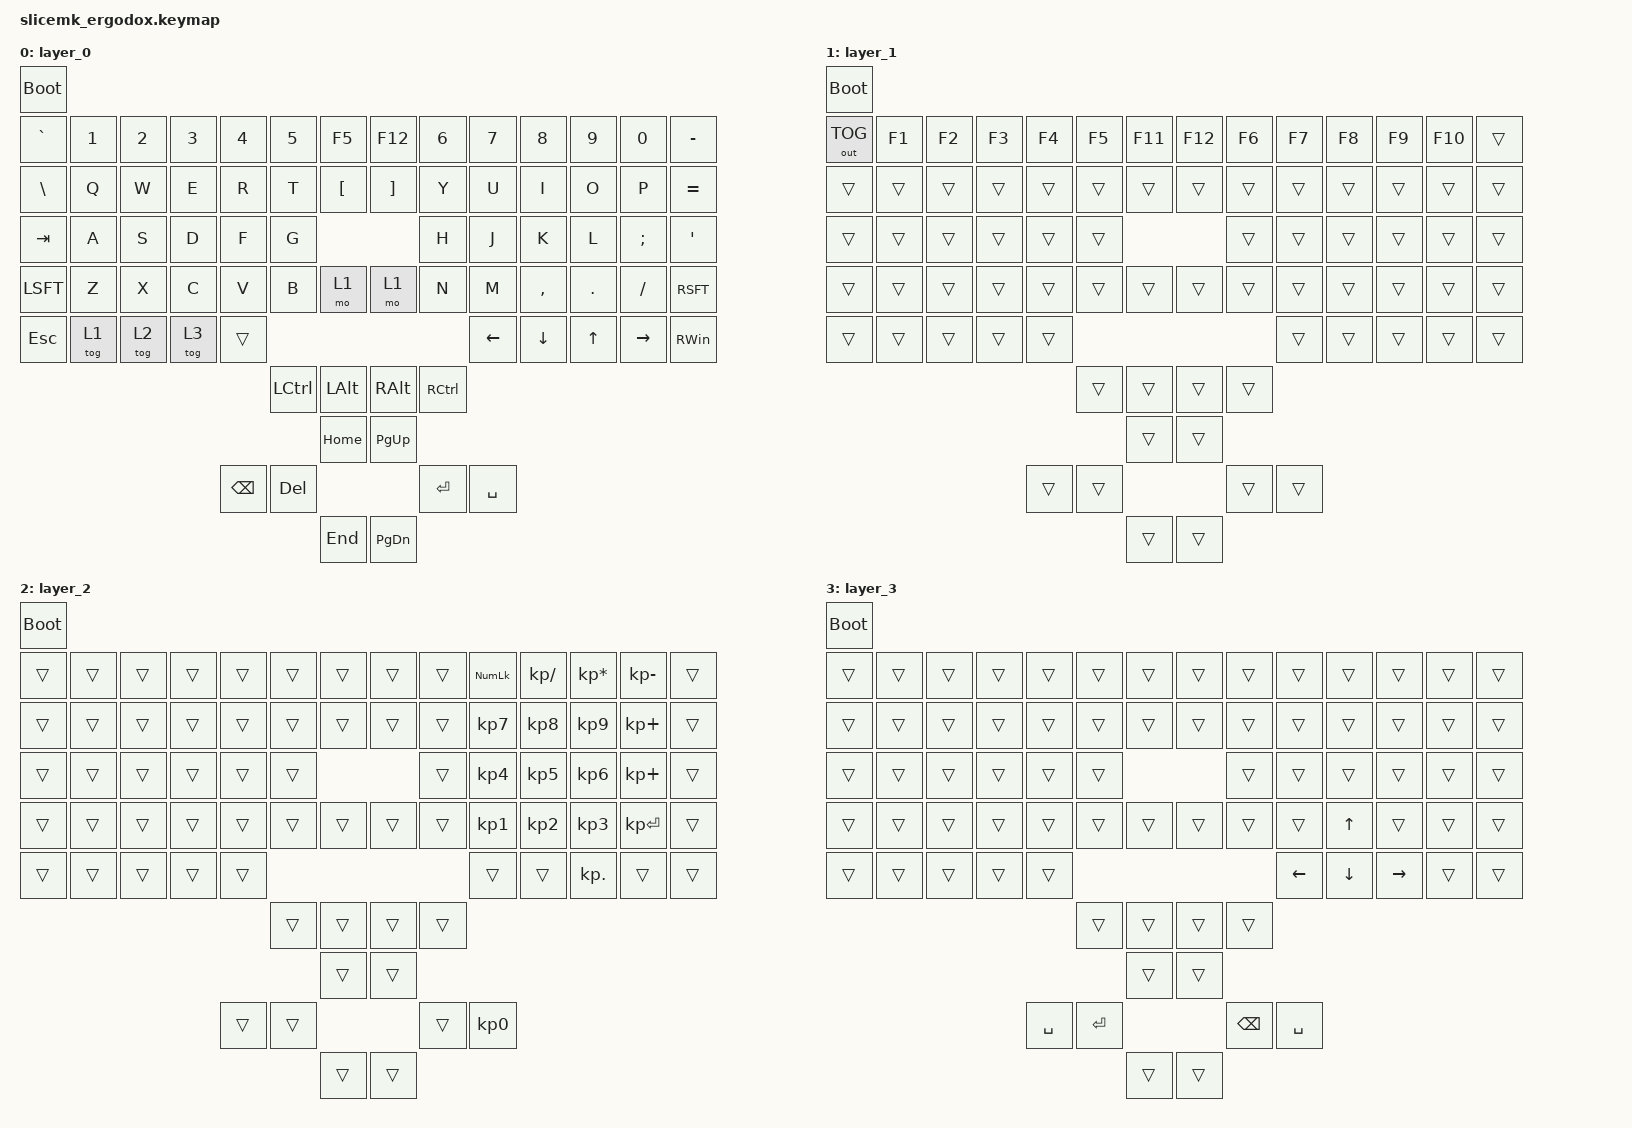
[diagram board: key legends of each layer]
#include <behaviors.dtsi>
#include <dt-bindings/zmk/bt.h>
#include <dt-bindings/zmk/keys.h>
#include <dt-bindings/zmk/outputs.h>

/ {
        keymap {
                compatible = "zmk,keymap";

                layer_0 {
                        bindings = <
    &bootloader
    &kp GRAVE  &kp N1     &kp N2     &kp N3     &kp N4     &kp N5     &kp F5    &kp F12    &kp N6     &kp N7     &kp N8     &kp N9     &kp N0     &kp MINUS
    &kp BSLH   &kp Q      &kp W      &kp E      &kp R      &kp T      &kp LBKT  &kp RBKT   &kp Y      &kp U      &kp I      &kp O      &kp P      &kp EQUAL
    &kp TAB    &kp A      &kp S      &kp D      &kp F      &kp G                           &kp H      &kp J      &kp K      &kp L      &kp SEMI   &kp SQT
    &kp LSFT &kp Z      &kp X      &kp C      &kp V      &kp B      &mo 1     &mo 1      &kp N      &kp M      &kp COMMA  &kp DOT    &kp FSLH   &kp RSFT
    &kp ESC    &tog 1     &tog 2     &tog 3     &trans                                                 &kp LEFT   &kp DOWN   &kp UP     &kp RIGHT  &kp RWIN
                                                           &kp LCTRL  &kp LALT  &kp RALT  &kp RCTRL
                                                                      &kp HOME  &kp PG_UP
                                                &kp BSPC   &kp DEL                         &kp ENTER  &kp SPACE
                                                                      &kp END   &kp PG_DN
                        >;
                };

                layer_1 {
                        bindings = <
    &bootloader
    &out OUT_TOG &kp F1     &kp F2     &kp F3     &kp F4     &kp F5    &kp F11    &kp F12    &kp F6     &kp F7     &kp F8     &kp F9     &kp F10    &trans
    &trans      &trans     &trans     &trans     &trans     &trans    &trans     &trans     &trans     &trans     &trans     &trans     &trans     &trans
    &trans      &trans     &trans     &trans     &trans     &trans                          &trans     &trans     &trans     &trans     &trans     &trans
    &trans      &trans     &trans     &trans     &trans     &trans    &trans     &trans     &trans     &trans     &trans     &trans     &trans     &trans
    &trans      &trans     &trans     &trans     &trans                                                &trans     &trans     &trans     &trans     &trans
                                                           &trans     &trans     &trans     &trans
                                                                      &trans     &trans
                                                &trans     &trans                           &trans     &trans
                                                                      &trans     &trans
                        >;
                };

                layer_2 {
                        bindings = <
    &bootloader
    &trans     &trans     &trans     &trans     &trans     &trans     &trans     &trans     &trans     &kp KP_NUM &kp KP_SLASH &kp KP_ASTERISK &kp KP_MINUS &trans
    &trans     &trans     &trans     &trans     &trans     &trans     &trans     &trans     &trans     &kp KP_N7  &kp KP_N8    &kp KP_N9  &kp KP_PLUS &trans
    &trans     &trans     &trans     &trans     &trans     &trans                           &trans     &kp KP_N4  &kp KP_N5    &kp KP_N6  &kp KP_PLUS &trans
    &trans     &trans     &trans     &trans     &trans     &trans     &trans     &trans     &trans     &kp KP_N1  &kp KP_N2    &kp KP_N3  &kp KP_ENTER &trans
    &trans     &trans     &trans     &trans     &trans                                                 &trans     &trans       &kp KP_DOT &trans     &trans
                                                           &trans     &trans     &trans     &trans
                                                                      &trans     &trans
                                                &trans     &trans                           &trans     &kp KP_N0
                                                                      &trans     &trans
                        >;
                };

                layer_3 {
                        bindings = <
    &bootloader
    &trans     &trans     &trans     &trans     &trans     &trans     &trans     &trans     &trans     &trans     &trans    &trans    &trans    &trans
    &trans     &trans     &trans     &trans     &trans     &trans     &trans     &trans     &trans     &trans     &trans    &trans    &trans    &trans
    &trans     &trans     &trans     &trans     &trans     &trans                           &trans     &trans     &trans    &trans    &trans    &trans
    &trans     &trans     &trans     &trans     &trans     &trans     &trans     &trans     &trans     &trans     &kp UP    &trans    &trans    &trans
    &trans     &trans     &trans     &trans     &trans                                                 &kp LEFT   &kp DOWN  &kp RIGHT &trans    &trans
                                                           &trans     &trans     &trans     &trans
                                                                      &trans     &trans
                                                &kp SPACE  &kp ENTER                        &kp BSPC   &kp SPACE
                                                                      &trans     &trans
                        >;
                };

        };
};
